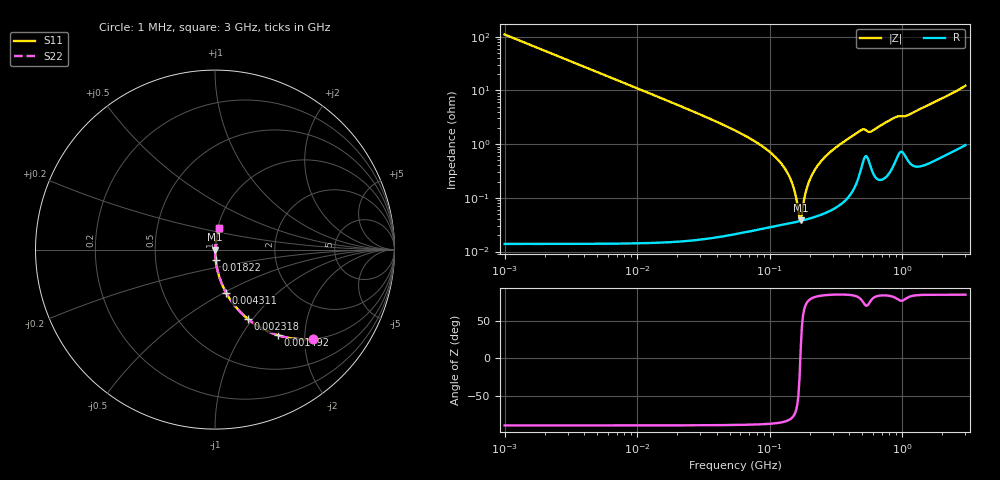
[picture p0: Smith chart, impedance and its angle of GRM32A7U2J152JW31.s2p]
!Murata Part Number: GRM32A7U2J152JW31
!These Parameters are Measured in Series Mode Connection
!Data Generated on Mar 30, 2021
!  o--ll--o
!Port1  Port2
!  o------o
!Operation Temp=25[degC], DC Bias Voltage=0[V]
!Freq. Start=1000[kHz] Stop=3[GHz] 401[Steps]
# Hz S RI R 50
!Freq.(Hz) S11(Real) S11(Imag) S21(Real) S21(Imag) S12(Real) S12(Imag) S22(Real) S22(Imag)
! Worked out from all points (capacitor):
!   401 points, 1 MHz to 3 GHz, reference 50 ohm
!   read as one part in series: C = 1.45 nF near 1.041 MHz
!   lowest |Z| = 37.8 mohm at 171.4 MHz (marker M1)
!   series resonance near 170.5 MHz, so ESL is about 600 pH
!   S11 on the Smith chart (normalised r, x): 1 MHz: 1.00, -2.20; 1.492 MHz: 1.00, -1.47; 2.318 MHz: 1.00, -0.95; 4.311 MHz: 1.00, -0.51; 18.22 MHz: 1.00, -0.12; 3 GHz: 1.02, +0.24
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1000000  0.5474 -0.4977  0.4526 0.4977  0.4526 0.4977  0.5474 -0.4977
1492300  0.352 -0.4775  0.648 0.4775  0.648 0.4775  0.352 -0.4775
2317916  0.1838 -0.3872  0.8162 0.3872  0.8162 0.3872  0.1838 -0.3872
3823119  0.0765 -0.2655  0.9235 0.2655  0.9235 0.2655  0.0765 -0.2655
4310966  0.0611 -0.2393  0.9389 0.2393  0.9389 0.2393  0.0611 -0.2393
1.461624e7  0.00569 -0.0742  0.9943 0.0742  0.9943 0.0742  0.00569 -0.0742
1.821614e7  0.00369 -0.0594  0.9963 0.0594  0.9963 0.0594  0.00369 -0.0594
5.477226e7  0.000532 -0.0179  0.9995 0.0179  0.9995 0.0179  0.000532 -0.0179
9.034013e7  0.000343 -0.00871  0.9997 0.00871  0.9997 0.00871  0.000343 -0.00871
1.219755e8  0.000328 -0.00438  0.9997 0.00438  0.9997 0.00438  0.000328 -0.00438
1.460522e8  0.000343 -0.00199  0.9997 0.00199  0.9997 0.00199  0.000343 -0.00199
1.646891e8  0.000363 -0.000443  0.9996 0.000443  0.9996 0.000443  0.000363 -0.000443
1.714156e8  0.000371 7.17e-05  0.9996 -7.17e-05  0.9996 -7.17e-05  0.000371 7.17e-05
1.93289e8  0.000404 0.00162  0.9996 -0.00162  0.9996 -0.00162  0.000404 0.00162
2.094008e8  0.000432 0.00267  0.9996 -0.00267  0.9996 -0.00267  0.000432 0.00267
2.558035e8  0.000535 0.00541  0.9995 -0.00541  0.9995 -0.00541  0.000535 0.00541
3.523638e8  0.0009 0.0105  0.9991 -0.0105  0.9991 -0.0105  0.0009 0.0105
4.853736e8  0.00348 0.0176  0.9965 -0.0176  0.9965 -0.0176  0.00348 0.0176
5.81181e8  0.0039 0.0166  0.9961 -0.0166  0.9961 -0.0166  0.0039 0.0166
8.005644e8  0.00363 0.0273  0.9964 -0.0273  0.9964 -0.0273  0.00363 0.0273
1.10276e9  0.0061 0.0338  0.9939 -0.0338  0.9939 -0.0338  0.0061 0.0338
3e9  0.0237 0.1178  0.9763 -0.1178  0.9763 -0.1178  0.0237 0.1178
